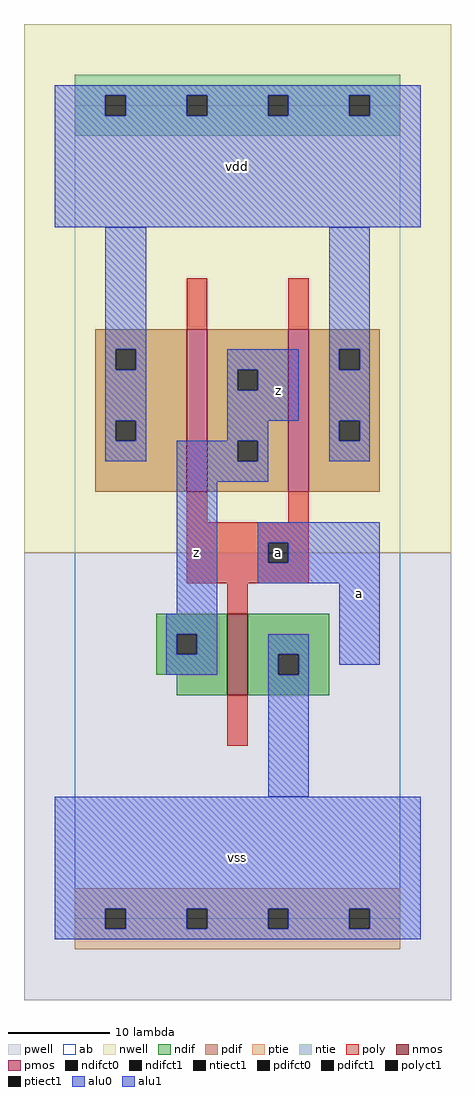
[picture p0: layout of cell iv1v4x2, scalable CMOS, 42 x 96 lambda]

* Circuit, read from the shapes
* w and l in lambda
.subckt iv1v4x2 a vdd vss z
M1 vss a z vss nfet w=8 l=2
M2 z a vdd vdd pfet w=16 l=2 m=2
.ends

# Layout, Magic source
magic
tech scmos
<< ab >>
rect 0 0 32 80
<< nwell >>
rect -5 36 37 88
<< pwell >>
rect -5 -8 37 36
<< poly >>
rect 11 58 13 63
rect 21 58 23 63
rect 11 39 13 42
rect 21 39 23 42
rect 11 37 23 39
rect 11 35 19 37
rect 21 35 23 37
rect 11 33 23 35
rect 15 30 17 33
rect 15 17 17 22
<< ndif >>
rect 8 28 15 30
rect 8 26 10 28
rect 12 26 15 28
rect 8 24 15 26
rect 10 22 15 24
rect 17 26 25 30
rect 17 24 20 26
rect 22 24 25 26
rect 17 22 25 24
<< pdif >>
rect 2 56 11 58
rect 2 54 4 56
rect 6 54 11 56
rect 2 49 11 54
rect 2 47 4 49
rect 6 47 11 49
rect 2 42 11 47
rect 13 54 21 58
rect 13 52 16 54
rect 18 52 21 54
rect 13 47 21 52
rect 13 45 16 47
rect 18 45 21 47
rect 13 42 21 45
rect 23 56 30 58
rect 23 54 26 56
rect 28 54 30 56
rect 23 49 30 54
rect 23 47 26 49
rect 28 47 30 49
rect 23 42 30 47
<< alu1 >>
rect -2 81 34 82
rect -2 79 3 81
rect 5 79 11 81
rect 13 79 19 81
rect 21 79 27 81
rect 29 79 34 81
rect -2 68 34 79
rect 15 54 22 56
rect 15 52 16 54
rect 18 52 22 54
rect 15 49 22 52
rect 15 47 19 49
rect 10 45 16 47
rect 18 45 19 47
rect 10 43 19 45
rect 10 30 14 43
rect 18 37 30 39
rect 18 35 19 37
rect 21 35 30 37
rect 18 33 30 35
rect 9 28 14 30
rect 9 26 10 28
rect 12 26 14 28
rect 9 24 14 26
rect 26 25 30 33
rect -2 1 34 12
rect -2 -1 3 1
rect 5 -1 11 1
rect 13 -1 19 1
rect 21 -1 27 1
rect 29 -1 34 1
rect -2 -2 34 -1
<< ptie >>
rect 0 1 32 3
rect 0 -1 3 1
rect 5 -1 11 1
rect 13 -1 19 1
rect 21 -1 27 1
rect 29 -1 32 1
rect 0 -3 32 -1
<< ntie >>
rect 0 81 32 83
rect 0 79 3 81
rect 5 79 11 81
rect 13 79 19 81
rect 21 79 27 81
rect 29 79 32 81
rect 0 77 32 79
<< nmos >>
rect 15 22 17 30
<< pmos >>
rect 11 42 13 58
rect 21 42 23 58
<< polyct1 >>
rect 19 35 21 37
<< ndifct0 >>
rect 20 24 22 26
<< ndifct1 >>
rect 10 26 12 28
<< ntiect1 >>
rect 3 79 5 81
rect 11 79 13 81
rect 19 79 21 81
rect 27 79 29 81
<< ptiect1 >>
rect 3 -1 5 1
rect 11 -1 13 1
rect 19 -1 21 1
rect 27 -1 29 1
<< pdifct0 >>
rect 4 54 6 56
rect 4 47 6 49
rect 26 54 28 56
rect 26 47 28 49
<< pdifct1 >>
rect 16 52 18 54
rect 16 45 18 47
<< alu0 >>
rect 3 56 7 68
rect 25 56 29 68
rect 3 54 4 56
rect 6 54 7 56
rect 3 49 7 54
rect 3 47 4 49
rect 6 47 7 49
rect 25 54 26 56
rect 28 54 29 56
rect 25 49 29 54
rect 3 45 7 47
rect 25 47 26 49
rect 28 47 29 49
rect 25 45 29 47
rect 19 26 23 28
rect 19 24 20 26
rect 22 24 23 26
rect 19 12 23 24
<< labels >>
rlabel alu1 12 36 12 36 6 z
rlabel alu1 16 6 16 6 6 vss
rlabel polyct1 20 36 20 36 6 a
rlabel alu1 20 52 20 52 6 z
rlabel alu1 16 74 16 74 6 vdd
rlabel alu1 28 32 28 32 6 a
<< end >>
